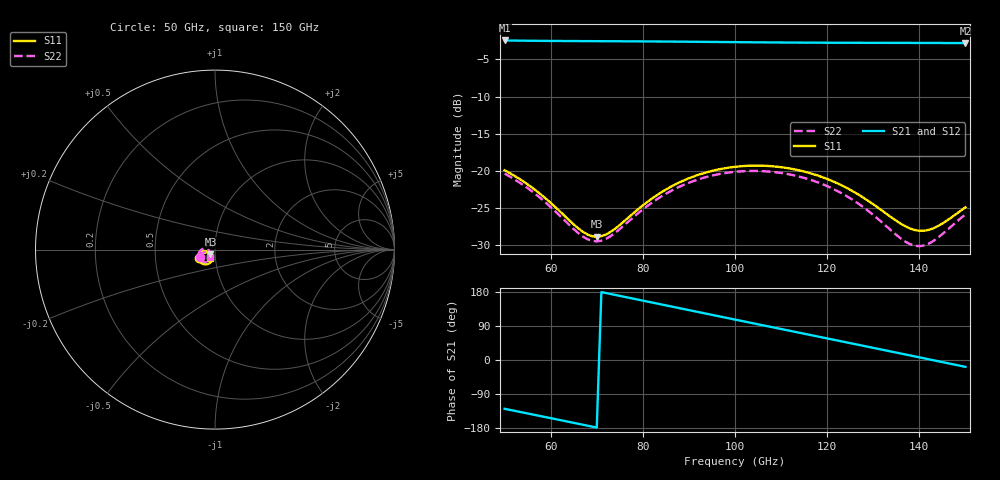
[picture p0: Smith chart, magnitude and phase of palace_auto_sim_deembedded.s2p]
! Created with skrf 1.11.0 (http://scikit-rf.org).
# GHz S DB R 50.0
!freq dBS11 angS11 dBS21 angS21 dBS12 angS12 dBS22 angS22
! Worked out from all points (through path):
!   101 points, 50 GHz to 150 GHz, reference 50 ohm
!   highest |S21| = -2.45 dB at 50 GHz (marker M1); lowest = -2.8 dB at 150 GHz (marker M2)
!   group delay of S21, straight-line fit = 6.93 ps
!   lowest |S11| = -28.9 dB at 70 GHz (marker M3), VSWR 1.07, Z = 47.5 - j2.43 ohm
!   |S11| at or under -10 dB: start of sweep to end of sweep
!   |S22| runs from -30.1 to -20.0 dB; largest |S21 - S12| = 6.5e-16
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50  -19.93 -151.7  -2.45 -128.8  -2.45 -128.8  -20.38 -154.4
55  -21.83 -159.8  -2.49 -141.1  -2.49 -141.1  -22.34 -163.0
59  -23.77 -163.0  -2.51 -151.0  -2.51 -151.0  -24.32 -166.6
63  -26.06 -160.9  -2.53 -160.9  -2.53 -160.9  -26.66 -164.8
67  -28.22 -149.6  -2.54 -170.8  -2.54 -170.8  -28.86 -153.5
70  -28.89 -134.7  -2.55 -178.3  -2.55 -178.3  -29.51 -138.6
73  -28.23 -120.2  -2.56 174.2  -2.56 174.2  -28.80 -124.4
77  -26.22 -109.4  -2.57 164.2  -2.57 164.2  -26.76 -114.3
84  -22.90 -108.8  -2.60 146.7  -2.60 146.7  -23.46 -114.9
92  -20.55 -119.3  -2.64 126.6  -2.64 126.6  -21.17 -126.5
100  -19.46 -133.1  -2.68 106.7  -2.68 106.7  -20.14 -141.5
104  -19.31 -140.4  -2.70 96.7  -2.70 96.7  -20.02 -149.4
108  -19.38 -147.6  -2.72 86.8  -2.72 86.8  -20.14 -157.2
112  -19.70 -154.5  -2.74 76.8  -2.74 76.8  -20.51 -164.7
117  -20.45 -162.4  -2.75 64.4  -2.75 64.4  -21.35 -173.5
125  -22.56 -171.6  -2.77 44.5  -2.77 44.5  -23.70 175.9
130  -24.51 -172.6  -2.77 32.0  -2.77 32.0  -25.94 174.3
134  -26.30 -168.1  -2.78 22.0  -2.78 22.0  -28.10 179.3
138  -27.77 -156.5  -2.78 12.0  -2.78 12.0  -29.88 -166.1
141  -28.07 -144.0  -2.79 4.5  -2.79 4.5  -30.06 -150.4
144  -27.46 -132.3  -2.79 -3.0  -2.79 -3.0  -29.03 -137.0
150  -24.92 -120.5  -2.81 -18.1  -2.81 -18.1  -25.87 -126.6
